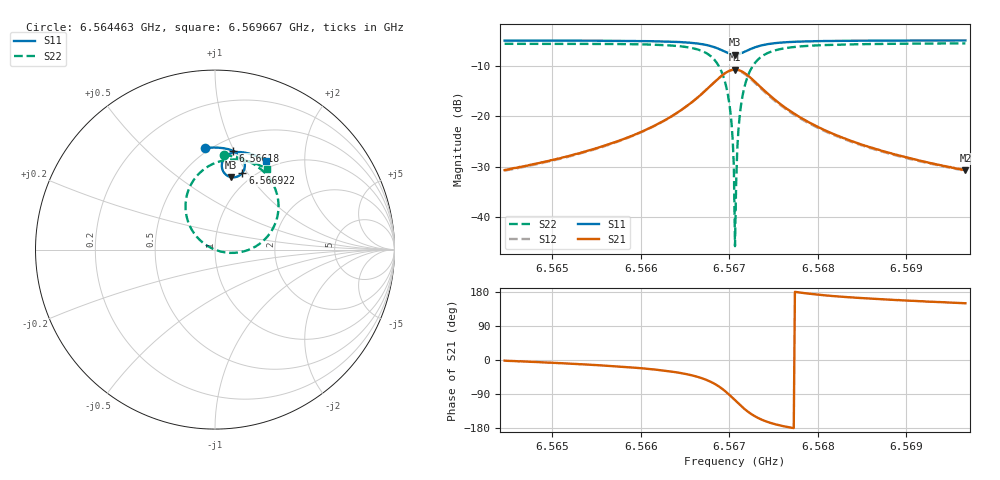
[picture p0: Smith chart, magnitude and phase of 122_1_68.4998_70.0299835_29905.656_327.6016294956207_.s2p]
#  HZ  S  RI  R  50.00
! Rohde & Schwarz Vector Network Analyzer
! Rohde-Schwarz,ZNB20-2Port,1311601062101988,3.16
! Created: UTC 3/20/2024, 4:54:00 PM
! freq[Hz]  re:S11  im:S11  re:S21  im:S21  re:S12  im:S12  re:S22  im:S22
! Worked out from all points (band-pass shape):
!   401 points, 6.564463 GHz to 6.569667 GHz, reference 50 ohm
!   highest |S21| = -10.66 dB at 6.567065 GHz (marker M1); lowest = -30.7 dB at 6.569667 GHz (marker M2)
!   |S21| within 3 dB of the highest: 6.566804 GHz to 6.567325 GHz (520.8 kHz wide, 0.00793 % of centre)
!   lowest |S11| = -7.7 dB at 6.567065 GHz (marker M3), VSWR 2.41, Z = 41.6 + j40.6 ohm
!   |S11| at or under -10 dB: nowhere
!   |S22| runs from -45.8 to -5.4 dB; largest |S21 - S12| = 0.014
!   S11 on the Smith chart (normalised r, x): 6.564463 GHz: 0.47, +0.79; 6.56618 GHz: 0.61, +0.99; 6.566922 GHz: 0.88, +0.95; 6.569667 GHz: 0.90, +1.31
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6.564463e9  -0.054 0.5668  0.0292 -0.000857  0.0288 -0.00138  0.048 0.5264
6.5653346e9  0.018 0.5678  0.0431 -0.0086  0.0422 -0.00917  0.1326 0.5113
6.5661802e9  0.0987 0.5516  0.0749 -0.036  0.0737 -0.0369  0.249 0.4534
6.5662062e9  0.1017 0.5505  0.0765 -0.0379  0.0753 -0.0388  0.2538 0.4497
6.5667135e9  0.1617 0.4948  0.1126 -0.134  0.1098 -0.1368  0.3534 0.2622
6.5668306e9  0.1661 0.4609  0.1013 -0.1935  0.0961 -0.1973  0.337 0.1488
6.5669217e9  0.1528 0.428  0.0611 -0.2499  0.0522 -0.2531  0.2631 0.0438
6.5669997e9  0.1225 0.406  -0.00797 -0.2843  -0.0205 -0.2836  0.1351 -0.0152
6.5670257e9  0.109 0.4029  -0.0369 -0.2876  -0.0498 -0.2847  0.0831 -0.0183
6.5670387e9  0.1019 0.4026  -0.0517 -0.287  -0.0647 -0.283  0.0564 -0.0156
6.5670517e9  0.0948 0.4029  -0.0667 -0.285  -0.0795 -0.2798  0.0301 -0.0104
6.5670648e9  0.0876 0.4042  -0.0813 -0.2816  -0.094 -0.2752  0.00458 -0.00227
6.5670908e9  0.0741 0.4089  -0.1093 -0.2703  -0.1207 -0.2617  -0.0433 0.0214
6.5671038e9  0.068 0.4123  -0.1221 -0.2629  -0.1328 -0.2534  -0.0647 0.0363
6.5671168e9  0.0622 0.4163  -0.1339 -0.2541  -0.1438 -0.244  -0.0843 0.0532
6.5671428e9  0.0524 0.4259  -0.1543 -0.2345  -0.1622 -0.2229  -0.1167 0.0908
6.5671948e9  0.0406 0.4483  -0.1807 -0.19  -0.1845 -0.1777  -0.1553 0.1725
6.5672599e9  0.0382 0.4753  -0.1905 -0.1367  -0.1907 -0.1258  -0.1629 0.2665
6.567507e9  0.0765 0.5303  -0.146 -0.0286  -0.1427 -0.0243  -0.0604 0.4483
6.5679363e9  0.1393 0.5433  -0.0835 0.00872  -0.0815 0.0101  0.0792 0.5013
6.5688079e9  0.2224 0.5241  -0.0406 0.0153  -0.0395 0.0158  0.2104 0.4847
6.5696665e9  0.2869 0.4939  -0.0252 0.0147  -0.0248 0.0148  0.2881 0.4501
